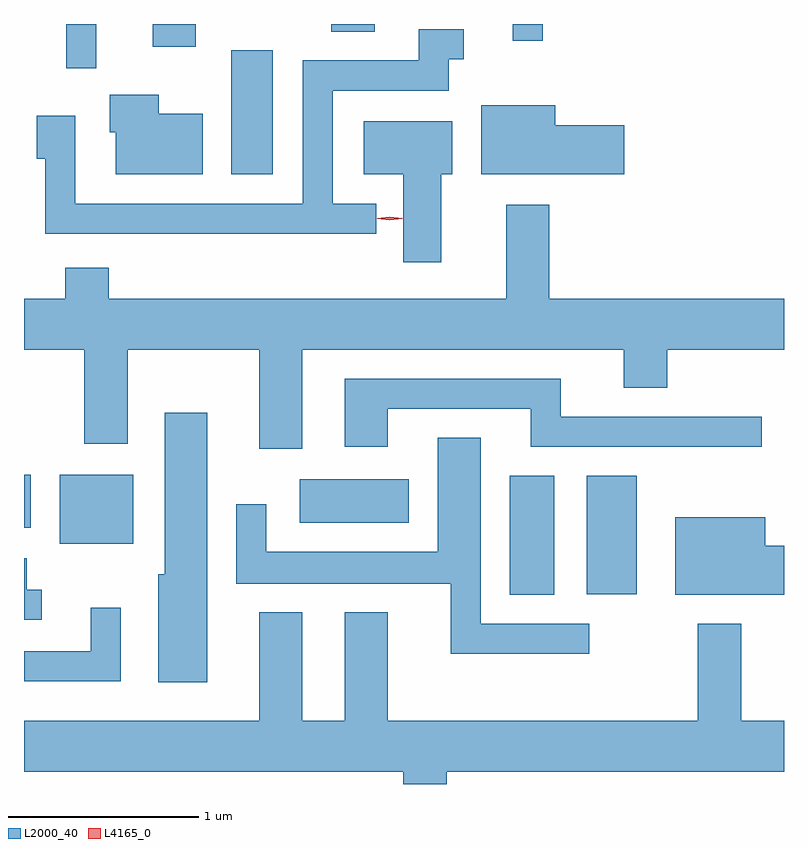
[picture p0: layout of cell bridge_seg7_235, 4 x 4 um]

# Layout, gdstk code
import gdstk
lib = gdstk.Library(unit=1e-6, precision=1e-09)
def R(c, l, rs):  # rectangles x0, y0, x1, y1
    for r in rs: c.add(gdstk.rectangle(r[:2], r[2:], *l))
def P(c, l, *ps):  # polygons
    for p in ps: c.add(gdstk.Polygon(p, *l))
L2000_40 = (2000, 40)
L4165_0 = (4165, 0)

bridge_seg7_235 = lib.new_cell('bridge_seg7_235')
R(bridge_seg7_235, L2000_40, [(1764.821,1719.686,1765.054,1720.314), (1765.226,1719.691,1765.489,1720.314), (1762.451,1719.956,1762.839,1720.319), (1762.264,1720.041,1762.299,1720.319), (1763.716,1720.066,1764.289,1720.294), (1763.356,1721.901,1763.574,1722.554), (1762.486,1722.458,1762.644,1722.691), (1762.941,1722.571,1763.169,1722.691), (1764.836,1722.603,1764.994,1722.691), (1763.881,1722.651,1764.109,1722.691)])
P(bridge_seg7_235, L2000_40, [(1764.118,1721.744),(1763.889,1721.744),(1763.889,1722.341),(1764.499,1722.341),(1764.499,1722.506),(1764.578,1722.506),(1764.578,1722.664),(1764.341,1722.664),(1764.341,1722.499),(1763.731,1722.499),(1763.731,1721.744),(1762.534,1721.744),(1762.534,1722.209),(1762.331,1722.209),(1762.331,1721.981),(1762.376,1721.981),(1762.376,1721.586),(1764.118,1721.586)],
  [(1763.204,1722.219),(1762.974,1722.219),(1762.974,1722.319),(1762.716,1722.319),(1762.716,1722.121),(1762.746,1722.121),(1762.746,1721.901),(1763.204,1721.901)],
  [(1765.424,1722.159),(1765.059,1722.159),(1765.059,1722.264),(1764.671,1722.264),(1764.671,1721.901),(1765.424,1721.901)],
  [(1764.459,1721.901),(1764.519,1721.901),(1764.519,1722.179),(1764.051,1722.179),(1764.051,1721.901),(1764.261,1721.901),(1764.261,1721.436),(1764.459,1721.436)],
  [(1765.421,1720.776),(1765.649,1720.776),(1765.649,1720.976),(1766.264,1720.976),(1766.264,1721.244),(1765.029,1721.244),(1765.029,1721.739),(1764.801,1721.739),(1764.801,1721.244),(1762.709,1721.244),(1762.709,1721.409),(1762.481,1721.409),(1762.481,1721.244),(1762.264,1721.244),(1762.264,1720.976),(1762.581,1720.976),(1762.581,1720.481),(1762.809,1720.481),(1762.809,1720.976),(1763.501,1720.976),(1763.501,1720.456),(1763.729,1720.456),(1763.729,1720.976),(1765.421,1720.976)],
  [(1764.179,1720.666),(1764.931,1720.666),(1764.931,1720.466),(1766.148,1720.466),(1766.148,1720.624),(1765.089,1720.624),(1765.089,1720.824),(1763.951,1720.824),(1763.951,1720.466),(1764.179,1720.466)],
  [(1763.229,1720.644),(1763.006,1720.644),(1763.006,1719.794),(1762.971,1719.794),(1762.971,1719.226),(1763.229,1719.226)],
  [(1765.238,1719.534),(1764.669,1719.534),(1764.669,1720.514),(1764.441,1720.514),(1764.441,1719.914),(1763.539,1719.914),(1763.539,1720.163),(1763.381,1720.163),(1763.381,1719.746),(1764.511,1719.746),(1764.511,1719.376),(1765.238,1719.376)],
  [(1766.264,1719.944),(1766.164,1719.944),(1766.164,1720.094),(1765.691,1720.094),(1765.691,1719.686),(1766.264,1719.686)],
  [(1762.358,1719.714),(1762.279,1719.714),(1762.279,1719.879),(1762.264,1719.879),(1762.264,1719.556),(1762.358,1719.556)],
  [(1762.774,1719.618),(1762.616,1719.618),(1762.616,1719.389),(1762.264,1719.389),(1762.264,1719.231),(1762.774,1719.231)],
  [(1763.951,1719.594),(1763.951,1719.024),(1763.729,1719.024),(1763.729,1719.594),(1763.501,1719.594),(1763.501,1719.024),(1762.264,1719.024),(1762.264,1718.756),(1764.261,1718.756),(1764.261,1718.691),(1764.489,1718.691),(1764.489,1718.756),(1766.264,1718.756),(1766.264,1719.024),(1766.039,1719.024),(1766.039,1719.534),(1765.811,1719.534),(1765.811,1719.024),(1764.179,1719.024),(1764.179,1719.594)])
P(bridge_seg7_235, L4165_0, [(1764.189,1721.658),(1764.123,1721.667),(1764.122,1721.667),(1764.123,1721.668),(1764.189,1721.677),(1764.255,1721.668),(1764.255,1721.668),(1764.255,1721.667)])

lib.write_gds('bridge_seg7_235.gds')
